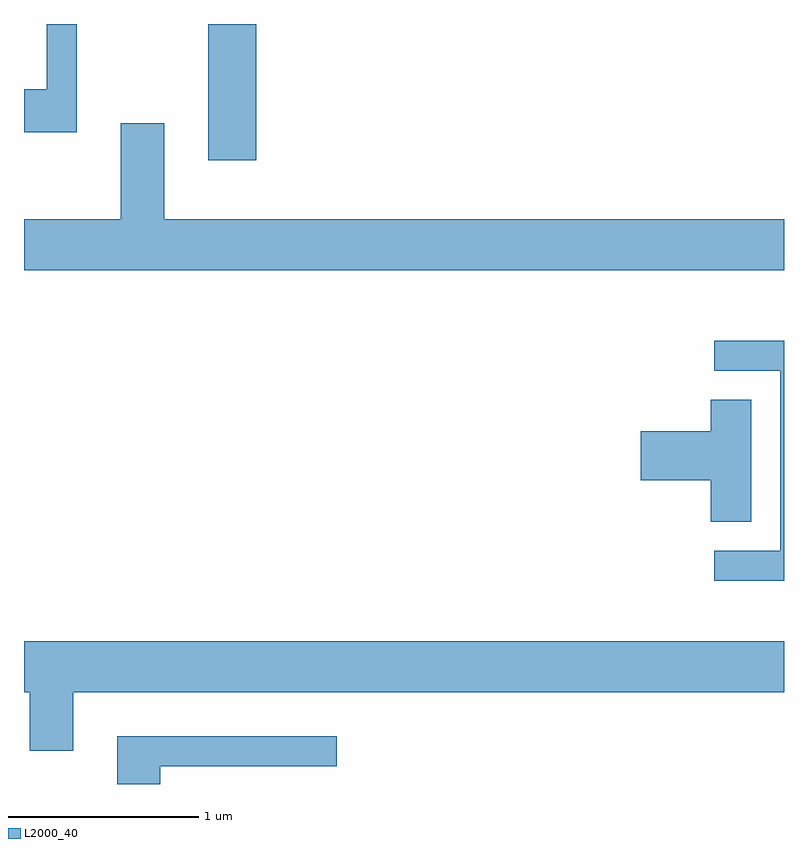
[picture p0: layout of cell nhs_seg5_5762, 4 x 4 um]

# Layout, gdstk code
import gdstk
lib = gdstk.Library(unit=1e-6, precision=1e-09)
def R(c, l, rs):  # rectangles x0, y0, x1, y1
    for r in rs: c.add(gdstk.rectangle(r[:2], r[2:], *l))
def P(c, l, *ps):  # polygons
    for p in ps: c.add(gdstk.Polygon(p, *l))
L2000_40 = (2000, 40)

nhs_seg5_5762 = lib.new_cell('nhs_seg5_5762')
R(nhs_seg5_5762, L2000_40, [(356.581,1477.356,356.834,1478.072)])
P(nhs_seg5_5762, L2000_40, [(355.889,1478.072),(355.731,1478.072),(355.731,1477.729),(355.611,1477.729),(355.611,1477.501),(355.889,1477.501)],
  [(359.611,1477.044),(356.349,1477.044),(356.349,1477.549),(356.121,1477.549),(356.121,1477.044),(355.611,1477.044),(355.611,1476.776),(359.611,1476.776)],
  [(359.611,1476.404),(359.243,1476.404),(359.243,1476.246),(359.591,1476.246),(359.591,1475.299),(359.243,1475.299),(359.243,1475.141),(359.611,1475.141)],
  [(359.439,1476.094),(359.226,1476.094),(359.226,1475.929),(358.856,1475.929),(358.856,1475.671),(359.226,1475.671),(359.226,1475.451),(359.439,1475.451)],
  [(355.869,1474.556),(359.611,1474.556),(359.611,1474.824),(355.611,1474.824),(355.611,1474.556),(355.641,1474.556),(355.641,1474.246),(355.869,1474.246)],
  [(356.329,1474.166),(357.258,1474.166),(357.258,1474.324),(356.101,1474.324),(356.101,1474.072),(356.329,1474.072)])

lib.write_gds('nhs_seg5_5762.gds')
